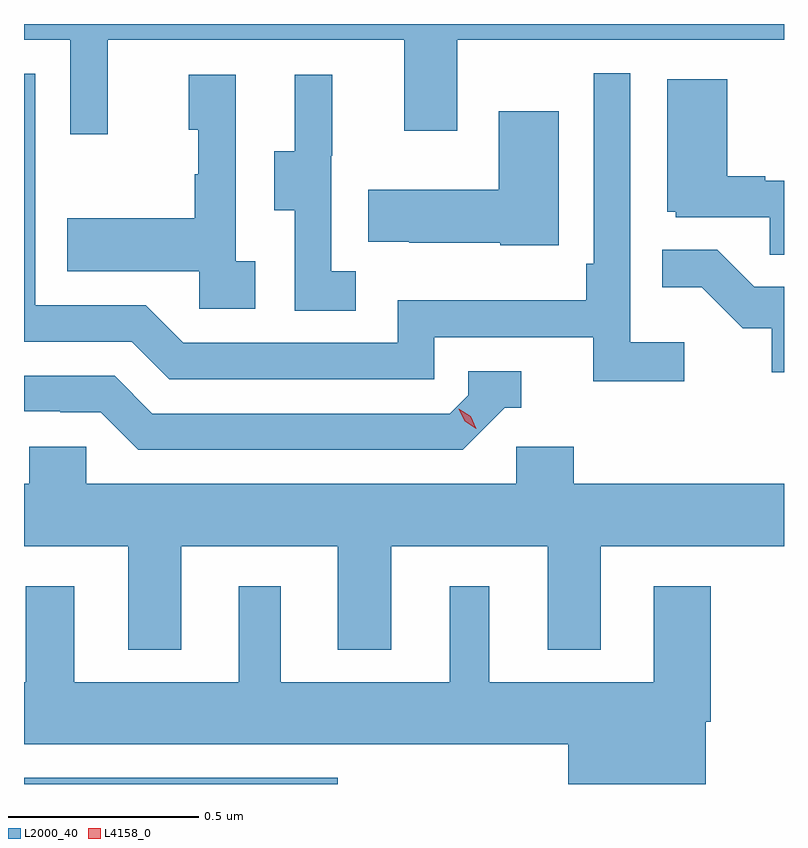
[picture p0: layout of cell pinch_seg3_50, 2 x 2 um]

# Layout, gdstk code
import gdstk
lib = gdstk.Library(unit=1e-6, precision=1e-09)
def R(c, l, rs):  # rectangles x0, y0, x1, y1
    for r in rs: c.add(gdstk.rectangle(r[:2], r[2:], *l))
def P(c, l, *ps):  # polygons
    for p in ps: c.add(gdstk.Polygon(p, *l))
L2000_40 = (2000, 40)
L4158_0 = (4158, 0)

pinch_seg3_50 = lib.new_cell('pinch_seg3_50')
R(pinch_seg3_50, L2000_40, [(1056.757,745.578,1057.582,745.594)])
P(pinch_seg3_50, L2000_40, [(1056.977,747.536),(1057.757,747.536),(1057.757,747.297),(1057.897,747.297),(1057.897,747.536),(1058.757,747.536),(1058.757,747.578),(1056.757,747.578),(1056.757,747.536),(1056.879,747.536),(1056.879,747.288),(1056.977,747.288)],
  [(1058.494,746.74),(1058.352,746.74),(1058.352,747.448),(1058.256,747.448),(1058.256,746.947),(1058.236,746.947),(1058.236,746.851),(1057.74,746.851),(1057.74,746.739),(1057.176,746.739),(1057.077,746.838),(1056.786,746.838),(1056.786,747.447),(1056.757,747.447),(1056.757,746.742),(1057.04,746.742),(1057.139,746.643),(1057.836,746.643),(1057.836,746.754),(1058.255,746.754),(1058.255,746.638),(1058.494,746.638)],
  [(1057.63,746.927),(1057.566,746.927),(1057.566,747.231),(1057.568,747.231),(1057.568,747.445),(1057.469,747.445),(1057.469,747.243),(1057.415,747.243),(1057.415,747.088),(1057.47,747.088),(1057.47,746.824),(1057.63,746.824)],
  [(1057.366,746.954),(1057.314,746.954),(1057.314,747.445),(1057.19,747.445),(1057.19,747.3),(1057.216,747.3),(1057.216,747.182),(1057.206,747.182),(1057.206,747.067),(1056.871,747.067),(1056.871,746.927),(1057.218,746.927),(1057.218,746.829),(1057.366,746.829)],
  [(1058.757,747.165),(1058.708,747.165),(1058.708,747.178),(1058.608,747.178),(1058.608,747.433),(1058.45,747.433),(1058.45,747.084),(1058.472,747.084),(1058.472,747.069),(1058.719,747.069),(1058.719,746.971),(1058.757,746.971)],
  [(1058.164,747.349),(1058.006,747.349),(1058.006,747.142),(1057.663,747.142),(1057.663,747.005),(1057.771,747.005),(1057.771,747.002),(1058.01,747.002),(1058.01,746.996),(1058.164,746.996)],
  [(1058.757,746.886),(1058.679,746.886),(1058.581,746.984),(1058.437,746.984),(1058.437,746.885),(1058.541,746.885),(1058.648,746.778),(1058.725,746.778),(1058.725,746.661),(1058.757,746.661)],
  [(1058.022,746.568),(1058.065,746.568),(1058.065,746.664),(1057.926,746.664),(1057.926,746.601),(1057.878,746.553),(1057.095,746.553),(1056.996,746.652),(1056.757,746.652),(1056.757,746.559),(1056.852,746.559),(1056.852,746.556),(1056.959,746.556),(1057.058,746.457),(1057.911,746.457)],
  [(1057.171,746.204),(1057.583,746.204),(1057.583,745.931),(1057.723,745.931),(1057.723,746.204),(1058.135,746.204),(1058.135,745.931),(1058.275,745.931),(1058.275,746.204),(1058.757,746.204),(1058.757,746.368),(1058.204,746.368),(1058.204,746.466),(1058.052,746.466),(1058.052,746.368),(1056.921,746.368),(1056.921,746.466),(1056.771,746.466),(1056.771,746.368),(1056.757,746.368),(1056.757,746.204),(1057.031,746.204),(1057.031,745.931),(1057.171,745.931)],
  [(1058.551,745.742),(1058.564,745.742),(1058.564,746.098),(1058.414,746.098),(1058.414,745.846),(1057.981,745.846),(1057.981,746.098),(1057.877,746.098),(1057.877,745.846),(1057.432,745.846),(1057.432,746.098),(1057.322,746.098),(1057.322,745.846),(1056.889,745.846),(1056.889,746.098),(1056.761,746.098),(1056.761,745.846),(1056.757,745.846),(1056.757,745.682),(1058.189,745.682),(1058.189,745.578),(1058.551,745.578)])
P(pinch_seg3_50, L4158_0, [(1057.947,746.513),(1057.917,746.533),(1057.901,746.566),(1057.901,746.566),(1057.901,746.566),(1057.932,746.546),(1057.947,746.513),(1057.947,746.513)])

lib.write_gds('pinch_seg3_50.gds')
